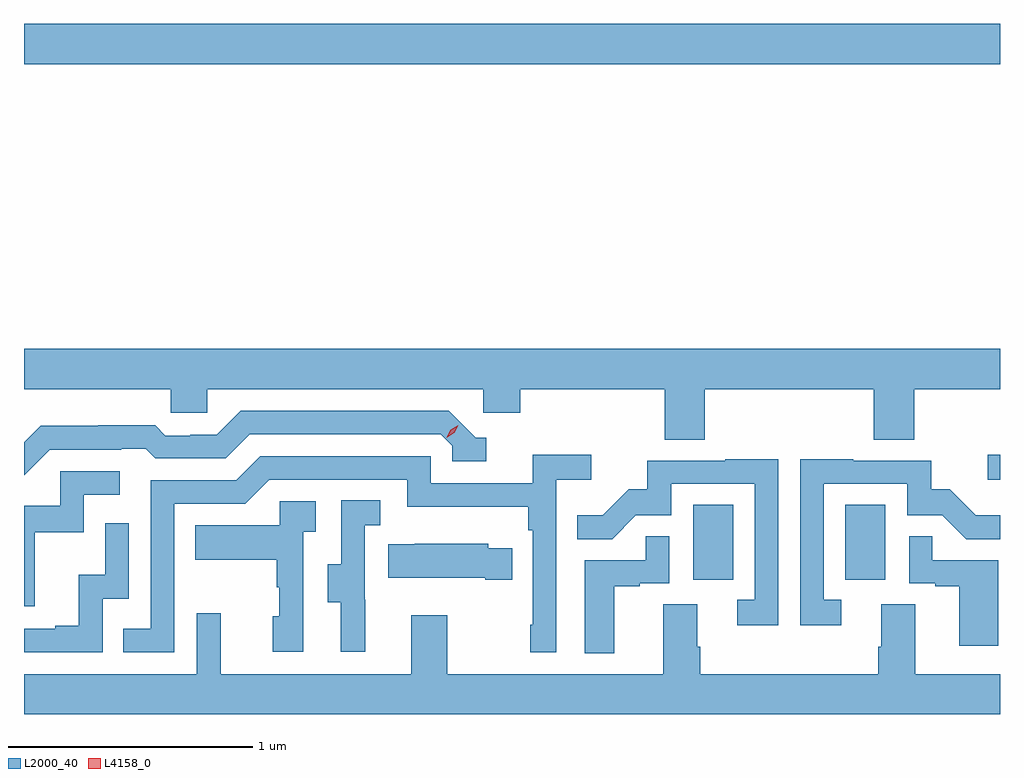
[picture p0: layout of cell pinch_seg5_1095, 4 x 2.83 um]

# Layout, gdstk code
import gdstk
lib = gdstk.Library(unit=1e-6, precision=1e-09)
def R(c, l, rs):  # rectangles x0, y0, x1, y1
    for r in rs: c.add(gdstk.rectangle(r[:2], r[2:], *l))
def P(c, l, *ps):  # polygons
    for p in ps: c.add(gdstk.Polygon(p, *l))
L2000_40 = (2000, 40)
L4158_0 = (4158, 0)

pinch_seg5_1095 = lib.new_cell('pinch_seg5_1095')
R(pinch_seg5_1095, L2000_40, [(817.82,849.318,817.984,849.625), (818.444,849.318,818.608,849.625), (819.027,849.728,819.078,849.83), (815.078,851.432,819.078,851.596)])
P(pinch_seg5_1095, L2000_40, [(817.868,850.1),(818.561,850.1),(818.561,849.892),(818.726,849.892),(818.726,850.1),(819.078,850.1),(819.078,850.264),(815.078,850.264),(815.078,850.1),(815.679,850.1),(815.679,850.002),(815.829,850.002),(815.829,850.1),(816.96,850.1),(816.96,850.002),(817.112,850.002),(817.112,850.1),(817.703,850.1),(817.703,849.892),(817.868,849.892)],
  [(815.184,849.852),(815.477,849.852),(815.477,849.855),(815.576,849.855),(815.615,849.816),(815.904,849.816),(816.003,849.915),(816.786,849.915),(816.834,849.867),(816.834,849.804),(816.973,849.804),(816.973,849.9),(816.93,849.9),(816.819,850.011),(815.966,850.011),(815.867,849.912),(815.76,849.912),(815.76,849.909),(815.657,849.909),(815.615,849.952),(815.382,849.952),(815.382,849.949),(815.146,849.949),(815.078,849.881),(815.078,849.746)],
  [(815.694,849.63),(815.985,849.63),(816.084,849.729),(816.648,849.729),(816.648,849.617),(817.144,849.617),(817.144,849.521),(817.164,849.521),(817.164,849.133),(817.152,849.133),(817.152,849.021),(817.26,849.021),(817.26,849.728),(817.402,849.728),(817.402,849.83),(817.163,849.83),(817.163,849.714),(816.744,849.714),(816.744,849.825),(816.047,849.825),(815.948,849.726),(815.598,849.726),(815.598,849.117),(815.485,849.117),(815.485,849.021),(815.694,849.021)],
  [(818.428,849.237),(818.355,849.237),(818.355,849.711),(818.697,849.711),(818.697,849.582),(818.841,849.582),(818.939,849.484),(819.078,849.484),(819.078,849.583),(818.979,849.583),(818.872,849.69),(818.796,849.69),(818.796,849.807),(818.477,849.807),(818.477,849.812),(818.259,849.812),(818.259,849.132),(818.428,849.132)],
  [(818.169,849.812),(817.951,849.812),(817.951,849.807),(817.633,849.807),(817.633,849.69),(817.556,849.69),(817.449,849.583),(817.345,849.583),(817.345,849.484),(817.488,849.484),(817.586,849.582),(817.731,849.582),(817.731,849.711),(818.073,849.711),(818.073,849.237),(818.001,849.237),(818.001,849.132),(818.169,849.132)],
  [(815.123,849.513),(815.322,849.513),(815.322,849.666),(815.47,849.666),(815.47,849.762),(815.226,849.762),(815.226,849.621),(815.078,849.621),(815.078,849.21),(815.123,849.21)],
  [(816.476,849.237),(816.474,849.237),(816.474,849.541),(816.538,849.541),(816.538,849.644),(816.378,849.644),(816.378,849.381),(816.323,849.381),(816.323,849.226),(816.377,849.226),(816.377,849.024),(816.476,849.024)],
  [(816.222,849.515),(816.274,849.515),(816.274,849.639),(816.126,849.639),(816.126,849.541),(815.779,849.541),(815.779,849.401),(816.114,849.401),(816.114,849.287),(816.124,849.287),(816.124,849.168),(816.098,849.168),(816.098,849.024),(816.222,849.024)],
  [(815.4,849.24),(815.508,849.24),(815.508,849.55),(815.412,849.55),(815.412,849.338),(815.303,849.338),(815.303,849.13),(815.207,849.13),(815.207,849.117),(815.078,849.117),(815.078,849.021),(815.4,849.021)],
  [(817.498,849.291),(817.601,849.291),(817.601,849.303),(817.722,849.303),(817.722,849.497),(817.627,849.497),(817.627,849.399),(817.376,849.399),(817.376,849.017),(817.498,849.017)],
  [(819.07,849.399),(818.801,849.399),(818.801,849.497),(818.706,849.497),(818.706,849.303),(818.813,849.303),(818.813,849.291),(818.912,849.291),(818.912,849.048),(819.07,849.048)],
  [(817.079,849.448),(816.981,849.448),(816.981,849.466),(816.679,849.466),(816.679,849.463),(816.571,849.463),(816.571,849.326),(816.968,849.326),(816.968,849.319),(817.079,849.319)],
  [(819.078,848.932),(818.731,848.932),(818.731,849.218),(818.591,849.218),(818.591,849.044),(818.579,849.044),(818.579,848.932),(817.85,848.932),(817.85,849.044),(817.837,849.044),(817.837,849.218),(817.697,849.218),(817.697,848.932),(816.813,848.932),(816.813,849.172),(816.665,849.172),(816.665,848.932),(815.885,848.932),(815.885,849.181),(815.787,849.181),(815.787,848.932),(815.078,848.932),(815.078,848.768),(819.078,848.768)])
P(pinch_seg5_1095, L4158_0, [(816.81,849.901),(816.81,849.902),(816.826,849.934),(816.858,849.952),(816.858,849.952),(816.858,849.952),(816.841,849.92),(816.81,849.901)])

lib.write_gds('pinch_seg5_1095.gds')
